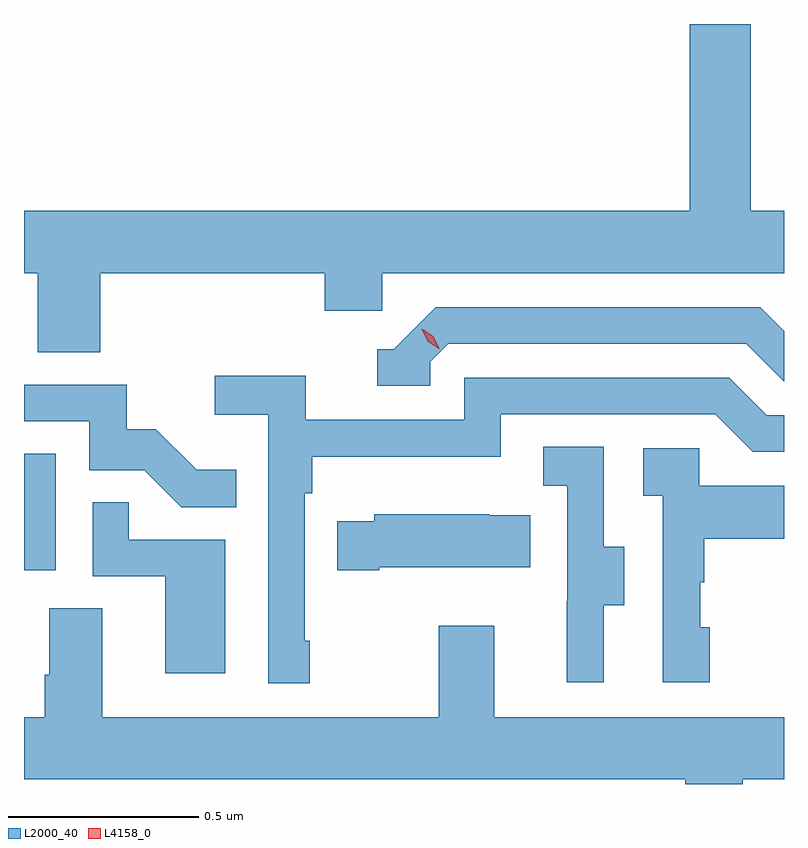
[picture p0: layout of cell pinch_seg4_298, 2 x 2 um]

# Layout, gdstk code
import gdstk
lib = gdstk.Library(unit=1e-6, precision=1e-09)
def R(c, l, rs):  # rectangles x0, y0, x1, y1
    for r in rs: c.add(gdstk.rectangle(r[:2], r[2:], *l))
def P(c, l, *ps):  # polygons
    for p in ps: c.add(gdstk.Polygon(p, *l))
L2000_40 = (2000, 40)
L4158_0 = (4158, 0)

pinch_seg4_298 = lib.new_cell('pinch_seg4_298')
R(pinch_seg4_298, L2000_40, [(951.947,809.358,952.03,809.665)])
P(pinch_seg4_298, L2000_40, [(952.148,810.14),(952.739,810.14),(952.739,810.042),(952.89,810.042),(952.89,810.14),(953.947,810.14),(953.947,810.304),(953.859,810.304),(953.859,810.796),(953.699,810.796),(953.699,810.304),(951.947,810.304),(951.947,810.14),(951.983,810.14),(951.983,809.932),(952.148,809.932)],
  [(953.016,809.907),(953.064,809.955),(953.847,809.955),(953.946,809.856),(953.947,809.856),(953.947,809.988),(953.884,810.051),(953.031,810.051),(952.92,809.94),(952.877,809.94),(952.877,809.844),(953.016,809.844)],
  [(952.699,809.173),(952.686,809.173),(952.686,809.561),(952.706,809.561),(952.706,809.657),(953.202,809.657),(953.202,809.769),(953.766,809.769),(953.865,809.67),(953.947,809.67),(953.947,809.766),(953.902,809.766),(953.803,809.865),(953.106,809.865),(953.106,809.754),(952.688,809.754),(952.688,809.87),(952.449,809.87),(952.449,809.768),(952.59,809.768),(952.59,809.061),(952.699,809.061)],
  [(952.505,809.623),(952.401,809.623),(952.294,809.73),(952.218,809.73),(952.218,809.847),(951.947,809.847),(951.947,809.751),(952.119,809.751),(952.119,809.622),(952.263,809.622),(952.361,809.524),(952.505,809.524)],
  [(953.473,809.266),(953.527,809.266),(953.527,809.421),(953.472,809.421),(953.472,809.684),(953.313,809.684),(953.313,809.581),(953.376,809.581),(953.376,809.277),(953.375,809.277),(953.375,809.064),(953.473,809.064)],
  [(953.752,809.208),(953.727,809.208),(953.727,809.327),(953.737,809.327),(953.737,809.441),(953.947,809.441),(953.947,809.581),(953.724,809.581),(953.724,809.679),(953.577,809.679),(953.577,809.555),(953.628,809.555),(953.628,809.064),(953.752,809.064)],
  [(952.477,809.439),(952.223,809.439),(952.223,809.537),(952.128,809.537),(952.128,809.343),(952.319,809.343),(952.319,809.088),(952.477,809.088)],
  [(952.882,809.366),(953.279,809.366),(953.279,809.503),(953.171,809.503),(953.171,809.506),(952.869,809.506),(952.869,809.488),(952.771,809.488),(952.771,809.359),(952.882,809.359)],
  [(953.839,808.808),(953.947,808.808),(953.947,808.972),(953.185,808.972),(953.185,809.212),(953.038,809.212),(953.038,808.972),(952.153,808.972),(952.153,809.258),(952.013,809.258),(952.013,809.084),(952.001,809.084),(952.001,808.972),(951.947,808.972),(951.947,808.808),(953.687,808.808),(953.687,808.796),(953.839,808.796)])
P(pinch_seg4_298, L4158_0, [(953.039,809.941),(953.009,809.961),(952.994,809.994),(952.994,809.994),(952.994,809.994),(953.024,809.974),(953.04,809.941),(953.04,809.941)])

lib.write_gds('pinch_seg4_298.gds')
